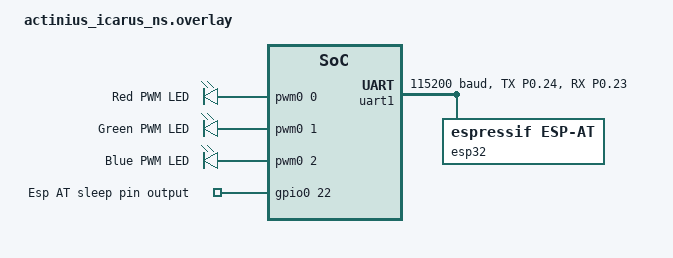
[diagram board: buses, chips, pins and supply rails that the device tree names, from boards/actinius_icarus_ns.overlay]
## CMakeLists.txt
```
#
# Copyright (c) 2021 Nordic Semiconductor ASA
#
# SPDX-License-Identifier: LicenseRef-Nordic-5-Clause
#

cmake_minimum_required(VERSION 3.20.0)

find_package(Zephyr REQUIRED HINTS $ENV{ZEPHYR_BASE})
project(asset_tracker_v2)
zephyr_compile_definitions(PROJECT_NAME=${PROJECT_NAME})

# NORDIC SDK APP START
target_sources(app PRIVATE src/main.c)
# NORDIC SDK APP END

# Include source directory
target_include_directories(app PRIVATE src)
target_include_directories(app PRIVATE include/${BOARD}/)
zephyr_include_directories_ifdef(CONFIG_MEMFAULT configuration/memfault)

# Application directories
add_subdirectory(src/modules)
add_subdirectory(src/events)

add_subdirectory_ifdef(CONFIG_CLOUD_MODULE src/cloud)
add_subdirectory_ifdef(CONFIG_SENSOR_MODULE src/ext_sensors)
add_subdirectory_ifdef(CONFIG_WATCHDOG_APPLICATION src/watchdog)

# Include nRF modem library header file for PC builds.
# These are used throughout the application in type definitions.
if (CONFIG_BOARD_QEMU_X86 OR CONFIG_BOARD_NATIVE_POSIX)
        target_include_directories(app PRIVATE ${NRFXLIB_DIR}/nrf_modem/include/)

        # Make folder containing certificates global so that it can be located by the configured
        # cloud library.
        zephyr_include_directories(src/cloud-certs)
endif()
```

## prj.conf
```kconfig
#
# Copyright (c) 2021 Nordic Semiconductor ASA
#
# SPDX-License-Identifier: LicenseRef-Nordic-5-Clause
#

# General config
CONFIG_NEWLIB_LIBC=y
CONFIG_NEWLIB_LIBC_NANO=y
CONFIG_NEWLIB_LIBC_FLOAT_PRINTF=y
CONFIG_ASSERT=y
CONFIG_REBOOT=y
CONFIG_FPU=y

# Heap and stacks
CONFIG_HEAP_MEM_POOL_SIZE=47250
CONFIG_MAIN_STACK_SIZE=2048
CONFIG_SYSTEM_WORKQUEUE_STACK_SIZE=4096
CONFIG_HW_STACK_PROTECTION=y
# Increase AT monitor heap size to be able to fit both neighbor cell measurement
# and other AT notifications that may come in rapid succession.
CONFIG_AT_MONITOR_HEAP_SIZE=1024

# Logging
CONFIG_LOG=y
CONFIG_LOG_MODE_DEFERRED=y

# nRF modem library
CONFIG_NRF_MODEM_LIB=y
CONFIG_NRF_MODEM_LIB_ON_FAULT_APPLICATION_SPECIFIC=y

# AT Host library - Used to send AT commands directy from an UART terminal and to allow
#		    integration with nRF Connect for Desktop LTE Link monitor application.
CONFIG_AT_HOST_LIBRARY=y

# Network
CONFIG_NETWORKING=y
CONFIG_NET_NATIVE=y
CONFIG_NET_SOCKETS=y
CONFIG_NET_SOCKETS_OFFLOAD=y
CONFIG_NET_IPV6=y
CONFIG_NET_IPV4=y

# LTE link control
CONFIG_LTE_AUTO_INIT_AND_CONNECT=n
CONFIG_LTE_NETWORK_MODE_LTE_M_GPS=y
## Power saving timers
### 1 hour PSM.
CONFIG_LTE_PSM_REQ_RPTAU="00100001"
### 30 seconds active time.
CONFIG_LTE_PSM_REQ_RAT="00001111"

# Settings - Used to store real-time device configuration to flash.
CONFIG_SETTINGS=y
CONFIG_SETTINGS_FCB=y
CONFIG_FCB=y

# FOTA
CONFIG_FOTA_DOWNLOAD=y
CONFIG_DFU_TARGET=y
CONFIG_DOWNLOAD_CLIENT=y
CONFIG_DOWNLOAD_CLIENT_HTTP_FRAG_SIZE_1024=y
CONFIG_DOWNLOAD_CLIENT_STACK_SIZE=4096
CONFIG_DOWNLOAD_CLIENT_BUF_SIZE=2300
CONFIG_DOWNLOAD_CLIENT_MAX_HOSTNAME_SIZE=128

# Flash - Used in FOTA, settings and storage for P-GPS.
CONFIG_FLASH=y
CONFIG_FLASH_PAGE_LAYOUT=y
CONFIG_FLASH_MAP=y
CONFIG_STREAM_FLASH=y
CONFIG_MPU_ALLOW_FLASH_WRITE=y

# MCUBOOT
CONFIG_BOOTLOADER_MCUBOOT=y
CONFIG_IMG_MANAGER=y
CONFIG_MCUBOOT_IMG_MANAGER=y
CONFIG_IMG_ERASE_PROGRESSIVELY=y
CONFIG_SECURE_BOOT=y
CONFIG_BUILD_S1_VARIANT=y

# Watchdog
CONFIG_WATCHDOG_APPLICATION=y

# Application Event Manager
CONFIG_APP_EVENT_MANAGER=y
CONFIG_APP_EVENT_MANAGER_LOG_EVENT_TYPE=n

# cJSON - Used in cloud data encoding.
CONFIG_CJSON_LIB=y

# CAF - Common Application Framework
CONFIG_CAF=y
CONFIG_LED=y
CONFIG_CAF_LEDS=y
CONFIG_CAF_INIT_LOG_LED_READY_EVENTS=n
CONFIG_CAF_INIT_LOG_LED_EVENTS=n
CONFIG_CAF_INIT_LOG_MODULE_STATE_EVENTS=n

# Location related configuration
CONFIG_LOCATION=y
CONFIG_LOCATION_REQUEST_DEFAULT_METHOD_FIRST_GNSS=y
CONFIG_LOCATION_REQUEST_DEFAULT_METHOD_SECOND_CELLULAR=y

#Max time for location service to wait on getting a location on each method before moving on to the next method - unless the overall "locationTimeout" expires first
CONFIG_LOCATION_REQUEST_DEFAULT_GNSS_TIMEOUT=60000
CONFIG_LOCATION_REQUEST_DEFAULT_CELLULAR_TIMEOUT=5000

CONFIG_LOCATION_DATA_DETAILS=y
CONFIG_LOCATION_LOG_LEVEL_WRN=y

# Default cloud transport service
CONFIG_NRF_CLOUD_MQTT=y
CONFIG_HW_ID_LIBRARY=y
CONFIG_HW_ID_LIBRARY_SOURCE_IMEI=y
CONFIG_NRF_CLOUD_SEC_TAG= #your sec tag here
CONFIG_NRF_CLOUD_CLIENT_ID_PREFIX=""
CONFIG_NRF_CLOUD_CLIENT_ID_SRC_COMPILE_TIME=y
CONFIG_NRF_CLOUD_CLIENT_ID="YOUR CLOUD CLIENT ID HERE"

# LTE link control
CONFIG_LTE_LINK_CONTROL=y
CONFIG_LTE_EDRX_REQ=y
```

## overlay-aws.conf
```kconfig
#
# Copyright (c) 2021 Nordic Semiconductor ASA
#
# SPDX-License-Identifier: LicenseRef-Nordic-5-Clause
#

CONFIG_AWS_IOT=y
CONFIG_AWS_IOT_TOPIC_UPDATE_DELTA_SUBSCRIBE=y
CONFIG_AWS_IOT_TOPIC_GET_REJECTED_SUBSCRIBE=y
CONFIG_AWS_IOT_AUTO_DEVICE_SHADOW_REQUEST=y
CONFIG_AWS_IOT_MQTT_RX_TX_BUFFER_LEN=2048
CONFIG_AWS_IOT_APP_SUBSCRIPTION_LIST_COUNT=3
CONFIG_AWS_IOT_CLIENT_ID_APP=y

# Options that must be configured in order to establish a connection.
CONFIG_AWS_IOT_CLIENT_ID_STATIC="icarus-1"
CONFIG_AWS_IOT_BROKER_HOST_NAME="a2jueuet77kxj4-ats.iot.us-east-2.amazonaws.com"
CONFIG_AWS_IOT_SEC_TAG=0

# MQTT Transport library
# Maximum specified MQTT keepalive timeout for AWS IoT is 1200 seconds.
CONFIG_MQTT_KEEPALIVE=1200
```

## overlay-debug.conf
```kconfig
#
# Copyright (c) 2021 Nordic Semiconductor ASA
#
# SPDX-License-Identifier: LicenseRef-Nordic-5-Clause
#

# Forces a maximal log level for all modules.
# Modules saturates their specified level if it is greater than this option,
# otherwise they use the level specified by this option instead of their default
# or whatever was manually set. Levels are:
#
# 0 OFF, logging is turned off
# 1 ERROR, maximal level set to LOG_LEVEL_ERR
# 2 WARNING, maximal level set to LOG_LEVEL_WRN
# 3 INFO, maximal level set to LOG_LEVEL_INFO
# 4 DEBUG, maximal level set to LOG_LEVEL_DBG
CONFIG_LOG_MAX_LEVEL=4

# Increase log buffer size to prevent logs being dropped.
CONFIG_LOG_BUFFER_SIZE=2048

# Disable routing of printk() through the logging subsystem.
# This is a workaround to ensure that long strings are printed properly.
CONFIG_LOG_PRINTK=n

# Module debug configurations.
CONFIG_APPLICATION_MODULE_LOG_LEVEL_DBG=y
CONFIG_CLOUD_MODULE_LOG_LEVEL_DBG=y
CONFIG_DATA_MODULE_LOG_LEVEL_DBG=y
CONFIG_LOCATION_MODULE_LOG_LEVEL_DBG=y
CONFIG_MODEM_MODULE_LOG_LEVEL_DBG=y
CONFIG_SENSOR_MODULE_LOG_LEVEL_DBG=y
CONFIG_UI_MODULE_LOG_LEVEL_DBG=y
CONFIG_UTIL_MODULE_LOG_LEVEL_DBG=y
CONFIG_DEBUG_MODULE_LOG_LEVEL_DBG=y

# Cloud integration layer debug logging
CONFIG_CLOUD_INTEGRATION_LOG_LEVEL_DBG=y

# Application Watchdog debug logging
CONFIG_WATCHDOG_LOG_LEVEL_DBG=y

# Cloud codec debug logging
CONFIG_CLOUD_CODEC_LOG_LEVEL_DBG=y

# Location library
CONFIG_LOCATION_LOG_LEVEL_DBG=y

# nRF Cloud
CONFIG_NRF_CLOUD_LOG_LEVEL_DBG=y

# Date time
CONFIG_DATE_TIME_LOG_LEVEL_DBG=y

# Settings
CONFIG_SETTINGS_LOG_LEVEL_DBG=y

# Flash
CONFIG_STREAM_FLASH_LOG_LEVEL_DBG=y

# Debug module
CONFIG_DEBUG_MODULE=y

# QoS library
CONFIG_QOS_LOG_LEVEL_DBG=y

# CONFIG_SENSOR_LOG_LEVEL_DBG=y

CONFIG_EXTERNAL_SENSORS_LOG_LEVEL_DBG=y

# CONFIG_NET_LOG=y
# CONFIG_NET_CORE_LOG_LEVEL_DBG=y
# CONFIG_NET_IF_LOG_LEVEL_DBG=y
# CONFIG_NET_TC_LOG_LEVEL_DBG=y
# CONFIG_NET_CONN_LOG_LEVEL_DBG=y
# CONFIG_NET_UTILS_LOG_LEVEL_DBG=y
# CONFIG_NET_CONTEXT_LOG_LEVEL_DBG=y
# CONFIG_NET_ROUTE_LOG_LEVEL_DBG=y
# CONFIG_MQTT_LOG_LEVEL_DBG=y

CONFIG_LTE_LC_MODEM_SLEEP_NOTIFICATIONS=y
CONFIG_LTE_LC_MODEM_SLEEP_PRE_WARNING_TIME_MS=500
CONFIG_LTE_LC_MODEM_SLEEP_NOTIFICATIONS_THRESHOLD_MS=10240
```

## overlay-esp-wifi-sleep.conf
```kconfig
CONFIG_WIFI_SLEEP=y
CONFIG_WIFI_ESP_AT_WAKEUP_PIN=19
CONFIG_WIFI_ESP_AT_SLEEP_MODE=2
CONFIG_PM=y
CONFIG_PM_DEVICE=y
```

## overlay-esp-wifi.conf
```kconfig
# ESP 8266 WIFI
CONFIG_WIFI=y
CONFIG_WIFI_LOG_LEVEL_DBG=y # optional
CONFIG_WIFI_OFFLOAD=y
CONFIG_NET_MGMT_EVENT_STACK_SIZE=4096

CONFIG_NET_IPV4=y  # must for ESP8266 to compile
CONFIG_NET_NATIVE=y # must for ESP8266 to compile

CONFIG_WIFI_ESP_AT=y
CONFIG_WIFI_ESP_AT_SCAN_MAC_ADDRESS=y
CONFIG_WIFI_ESP_AT_SCAN_PASSIVE=y
CONFIG_WIFI_ESP_AT_VERSION_2_1=y
CONFIG_WIFI_ESP_AT_SCAN_RESULT_RSSI_ORDERED=y

# Wi-Fi location
CONFIG_LOCATION_METHOD_WIFI=y
CONFIG_LOCATION_REQUEST_DEFAULT_METHOD_FIRST_GNSS=y
CONFIG_LOCATION_REQUEST_DEFAULT_METHOD_SECOND_WIFI=y
CONFIG_LOCATION_REQUEST_DEFAULT_METHOD_THIRD_CELLULAR=y

CONFIG_LOCATION_METHOD_WIFI_SCANNING_RESULTS_MAX_CNT=20
CONFIG_LOCATION_WORKQUEUE_STACK_SIZE=16384
# Needed to handle more scan results
CONFIG_HEAP_MEM_POOL_SIZE=47250

# Not for LTE throughput testing
CONFIG_NRF_MODEM_LIB_SHMEM_TX_SIZE=4096
CONFIG_NRF_MODEM_LIB_SHMEM_RX_SIZE=4096

CONFIG_LOCATION_REQUEST_DEFAULT_WIFI_TIMEOUT=5000
```

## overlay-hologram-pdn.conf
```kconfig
CONFIG_PDN_DEFAULTS_OVERRIDE=y
CONFIG_PDN_DEFAULT_APN="hologram"
```

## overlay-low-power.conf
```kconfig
#
# Copyright (c) 2021 Nordic Semiconductor ASA
#
# SPDX-License-Identifier: LicenseRef-Nordic-5-Clause
#

# This file contains configurations to achieve the lowest power consumption by
# disabling LEDs and logging over UART.

# Disable serial interface.
# CONFIG_SERIAL=n

# Disable LEDs
CONFIG_LED_CONTROL=n

# Disable UART console.
CONFIG_UART_CONSOLE=n

# Disable event logging.
CONFIG_APP_EVENT_MANAGER_SHOW_EVENTS=n

# Disable AT host library.
CONFIG_AT_HOST_LIBRARY=n

# Disable logging
CONFIG_LOG=n

# Disable TFM logging
CONFIG_TFM_LOG_LEVEL_SILENCE=y
```

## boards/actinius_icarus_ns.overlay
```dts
/ {
    pwmleds {
		compatible = "pwm-leds";

		red_pwm_led: led_pwm_0 {
			pwms = <&pwm0 0 PWM_MSEC(10) PWM_POLARITY_INVERTED>;
			label = "Red PWM LED";
		};

		green_pwm_led: led_pwm_1 {
			pwms = <&pwm0 1 PWM_MSEC(10) PWM_POLARITY_INVERTED>;
			label = "Green PWM LED";
		};

		blue_pwm_led: led_pwm_2 {
			pwms = <&pwm0 2 PWM_MSEC(10) PWM_POLARITY_INVERTED>;
			label = "Blue PWM LED";
		};
	};
	gpio {
		compatible = "gpio-keys";
		sleepout0: sleepout_0{
			gpios = <&gpio0 22 GPIO_ACTIVE_HIGH>;
			label = "Esp AT sleep pin output";
		};
	};

	aliases {
		esp-at-sleep = &sleepout0;
		accelerometer = &lis2dh12_accel;
	};
};
//uart1 for esp32
&uart1 {
	status = "okay";
	current-speed = <115200>;

	pinctrl-0 = <&uart1_default_alt>;
	pinctrl-1 = <&uart1_sleep_alt>;
	pinctrl-names = "default", "sleep";
	esp32: esp32 {
		compatible = "espressif,esp-at";
		status = "okay";
	};
};

&pinctrl {
	uart1_default_alt: uart1_default_alt {
		group1 {
			psels = <NRF_PSEL(UART_TX, 0, 24)>;
		};
		group2{
			psels = <NRF_PSEL(UART_RX, 0, 23)>;
			bias-pull-up;
		};
	};

	uart1_sleep_alt: uart1_sleep_alt {
		group1 {
			psels = <NRF_PSEL(UART_TX, 0, 24)>;
			low-power-enable;
		};
		group2{
			psels = <NRF_PSEL(UART_RX, 0, 23)>;
			low-power-enable;
			bias-pull-up;
		};
	};

};

/ {
	chosen {
		ncs,location-wifi = &esp32;
	};
};
&sim_select {
    sim = "external";
};
```

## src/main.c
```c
/*
 * Copyright (c) 2021 Nordic Semiconductor ASA
 *
 * SPDX-License-Identifier: LicenseRef-Nordic-5-Clause
 */

#include <zephyr/kernel.h>
#include <stdio.h>
#include <string.h>
#include <stdlib.h>
#include <app_event_manager.h>
#if defined(CONFIG_NRF_MODEM_LIB)
#include <modem/nrf_modem_lib.h>
#endif /* CONFIG_NRF_MODEM_LIB */
#include <zephyr/sys/reboot.h>
#include <net/nrf_cloud.h>
#include <nrfx_power.h>

/* Module name is used by the Application Event Manager macros in this file */
#define MODULE main
#include <caf/events/module_state_event.h>

#include "modules_common.h"
#include "events/app_module_event.h"
#include "events/cloud_module_event.h"
#include "events/data_module_event.h"
#include "events/sensor_module_event.h"
#include "events/util_module_event.h"
#include "events/modem_module_event.h"

#include <zephyr/logging/log.h>
#include <zephyr/logging/log_ctrl.h>

LOG_MODULE_REGISTER(MODULE, CONFIG_APPLICATION_MODULE_LOG_LEVEL);

/* Message structure. Events from other modules are converted to messages
 * in the Application Event Manager handler, and then queued up in the message queue
 * for processing in the main thread.
 */
struct app_msg_data {
	union {
		struct cloud_module_event cloud;
		struct sensor_module_event sensor;
		struct data_module_event data;
		struct util_module_event util;
		struct modem_module_event modem;
		struct app_module_event app;
	} module;
};

/* Application module super states. */
static enum state_type {
	STATE_INIT,
	STATE_RUNNING,
	STATE_SHUTDOWN
} state;

/* Application sub states. The application can be in either active or passive
 * mode.
 *
 * Active mode: Sensor data and GNSS position is acquired at a configured
 *		interval and sent to cloud.
 *
 * Passive mode: Sensor data and GNSS position is acquired when movement is
 *		 detected, or after the configured movement timeout occurs.
 */
static enum sub_state_type {
	SUB_STATE_ACTIVE_MODE,
	SUB_STATE_PASSIVE_MODE,
} sub_state;

/* Internal copy of the device configuration. */
static struct cloud_data_cfg app_cfg;

/* Variable that keeps track whether modem static data has been successfully sampled by the
 * modem module. Modem static data does not change and only needs to be sampled and sent to cloud
 * once.
 */
static bool modem_static_sampled;

/* Variable that is set high whenever a sample request is ongoing. */
static bool sample_request_ongoing;

/* Variable that is set high whenever the device is considered active (under movement). */
static bool activity;

/* Timer callback used to signal when timeout has occurred both in active
 * and passive mode.
 */
static void data_sample_timer_handler(struct k_timer *timer);

/* Application module message queue. */
#define APP_QUEUE_ENTRY_COUNT		10
#define APP_QUEUE_BYTE_ALIGNMENT	4

/* Data fetching timeouts */
#define DATA_FETCH_TIMEOUT_DEFAULT 2

K_MSGQ_DEFINE(msgq_app, sizeof(struct app_msg_data), APP_QUEUE_ENTRY_COUNT,
	      APP_QUEUE_BYTE_ALIGNMENT);

/* Data sample timer used in active mode. */
K_TIMER_DEFINE(data_sample_timer, data_sample_timer_handler, NULL);

/* Movement timer used to detect movement timeouts in passive mode. */
K_TIMER_DEFINE(movement_timeout_timer, data_sample_timer_handler, NULL);

/* Movement resolution timer decides the period after movement that consecutive
 * movements are ignored and do not cause data collection. This is used to
 * lower power consumption by limiting how often GNSS search is performed and
 * data is sent on air.
 */
K_TIMER_DEFINE(movement_resolution_timer, NULL, NULL);

/* Module data structure to hold information of the application module, which
 * opens up for using convenience functions available for modules.
 */
static struct module_data self = {
	.name = "app",
	.msg_q = &msgq_app,
	.supports_shutdown = true,
};

#if defined(CONFIG_NRF_MODEM_LIB)
NRF_MODEM_LIB_ON_INIT(asset_tracker_init_hook, on_modem_lib_init, NULL);

/* Initialized to value different than success (0) */
static int modem_lib_init_result = -1;

static void on_modem_lib_init(int ret, void *ctx)
{
	modem_lib_init_result = ret;
}
#endif /* CONFIG_NRF_MODEM_LIB */

/* Convenience functions used in internal state handling. */
static char *state2str(enum state_type new_state)
{
	switch (new_state) {
	case STATE_INIT:
		return "STATE_INIT";
	case STATE_RUNNING:
		return "STATE_RUNNING";
	case STATE_SHUTDOWN:
		return "STATE_SHUTDOWN";
	default:
		return "Unknown";
	}
}

static char *sub_state2str(enum sub_state_type new_state)
{
	switch (new_state) {
	case SUB_STATE_ACTIVE_MODE:
		return "SUB_STATE_ACTIVE_MODE";
	case SUB_STATE_PASSIVE_MODE:
		return "SUB_STATE_PASSIVE_MODE";
	default:
		return "Unknown";
	}
}

static void state_set(enum state_type new_state)
{
	if (new_state == state) {
		LOG_DBG("State: %s", state2str(state));
		return;
	}

	LOG_DBG("State transition %s --> %s",
		state2str(state),
		state2str(new_state));

	state = new_state;
}

static void sub_state_set(enum sub_state_type new_state)
{
	if (new_state == sub_state) {
		LOG_DBG("Sub state: %s", sub_state2str(sub_state));
		return;
	}

	LOG_DBG("Sub state transition %s --> %s",
		sub_state2str(sub_state),
		sub_state2str(new_state));

	sub_state = new_state;
}

/* Check the return code from nRF modem library initialization to ensure that
 * the modem is rebooted if a modem firmware update is ready to be applied or
 * an error condition occurred during firmware update or library initialization.
 */
static void handle_nrf_modem_lib_init_ret(void)
{
#if defined(CONFIG_NRF_MODEM_LIB)
	int ret = modem_lib_init_result;

	/* Handle return values relating to modem firmware update */
	switch (ret) {
	case 0:
		/* Initialization successful, no action required. */
		return;
	case NRF_MODEM_DFU_RESULT_OK:
		LOG_DBG("MODEM UPDATE OK. Will run new modem firmware after reboot");
		break;
	case NRF_MODEM_DFU_RESULT_UUID_ERROR:
	case NRF_MODEM_DFU_RESULT_AUTH_ERROR:
		LOG_ERR("MODEM UPDATE ERROR %d. Will run old firmware", ret);
		break;
	case NRF_MODEM_DFU_RESULT_HARDWARE_ERROR:
	case NRF_MODEM_DFU_RESULT_INTERNAL_ERROR:
		LOG_ERR("MODEM UPDATE FATAL ERROR %d. Modem failure", ret);
		break;
	case NRF_MODEM_DFU_RESULT_VOLTAGE_LOW:
		LOG_ERR("MODEM UPDATE CANCELLED %d.", ret);
		LOG_ERR("Please reboot once you have sufficient power for the DFU");
		break;
	default:
		/* All non-zero return codes other than DFU result codes are
		 * considered irrecoverable and a reboot is needed.
		 */
		LOG_ERR("nRF modem lib initialization failed, error: %d", ret);
		break;
	}

#if defined(CONFIG_NRF_CLOUD_FOTA)
	/* Ignore return value, rebooting below */
	(void)nrf_cloud_fota_pending_job_validate(NULL);
#endif
	LOG_DBG("Rebooting...");
	LOG_PANIC();
	sys_reboot(SYS_REBOOT_COLD);
#endif /* CONFIG_NRF_MODEM_LIB */
}

/* Application Event Manager handler. Puts event data into messages and adds them to the
 * application message queue.
 */
static bool app_event_handler(const struct app_event_header *aeh)
{
	struct app_msg_data msg = {0};
	bool enqueue_msg = false;

	if (is_cloud_module_event(aeh)) {
		struct cloud_module_event *evt = cast_cloud_module_event(aeh);

		msg.module.cloud = *evt;
		enqueue_msg = true;
	}

	if (is_app_module_event(aeh)) {
		struct app_module_event *evt = cast_app_module_event(aeh);

		msg.module.app = *evt;
		enqueue_msg = true;
	}

	if (is_data_module_event(aeh)) {
		struct data_module_event *evt = cast_data_module_event(aeh);

		msg.module.data = *evt;
		enqueue_msg = true;
	}

	if (is_sensor_module_event(aeh)) {
		struct sensor_module_event *evt = cast_sensor_module_event(aeh);

		msg.module.sensor = *evt;
		enqueue_msg = true;
	}

	if (is_util_module_event(aeh)) {
		struct util_module_event *evt = cast_util_module_event(aeh);

		msg.module.util = *evt;
		enqueue_msg = true;
	}

	if (is_modem_module_event(aeh)) {
		struct modem_module_event *evt = cast_modem_module_event(aeh);

		msg.module.modem = *evt;
		enqueue_msg = true;
	}

	if (enqueue_msg) {
		int err = module_enqueue_msg(&self, &msg);

		if (err) {
			LOG_ERR("Message could not be enqueued");
			SEND_ERROR(app, APP_EVT_ERROR, err);
		}
	}

	return false;
}

static void data_sample_timer_handler(struct k_timer *timer)
{
	ARG_UNUSED(timer);

	/* Cancel if a previous sample request has not completed or the device is not under
	 * activity in passive mode.
	 */
	if (sample_request_ongoing /*|| ((sub_state == SUB_STATE_PASSIVE_MODE) && !activity)*/) {
		return;
	}
	LOG_INF("Sending APP_EVT_DATA_GET_ALL");
	SEND_EVENT(app, APP_EVT_DATA_GET_ALL);
}

/* Static module functions. */
static void passive_mode_timers_start_all(void)
{
	LOG_DBG("Device mode: Passive");
	LOG_DBG("Start movement timeout: %d seconds interval", app_cfg.movement_timeout);

	LOG_DBG("%d seconds until movement can trigger a new data sample/publication",
		app_cfg.movement_resolution);

	k_timer_start(&movement_resolution_timer,
		      K_SECONDS(app_cfg.movement_resolution),
		      K_SECONDS(0));

	k_timer_start(&movement_timeout_timer,
		      K_SECONDS(app_cfg.movement_timeout),
		      K_SECONDS(app_cfg.movement_timeout));

	k_timer_stop(&data_sample_timer);
}

static void active_mode_timers_start_all(void)
{
	LOG_DBG("Device mode: Active");
	LOG_DBG("Start data sample timer: %d seconds interval", app_cfg.active_wait_timeout);

	k_timer_start(&data_sample_timer,
		      K_SECONDS(app_cfg.active_wait_timeout),
		      K_SECONDS(app_cfg.active_wait_timeout));

	k_timer_stop(&movement_resolution_timer);
	k_timer_stop(&movement_timeout_timer);
}

static void activity_event_handle(enum sensor_module_event_type sensor_event)
{
	__ASSERT(((sensor_event == SENSOR_EVT_MOVEMENT_ACTIVITY_DETECTED) ||
		  (sensor_event == SENSOR_EVT_MOVEMENT_INACTIVITY_DETECTED)),
		  "Unknown event");

	activity = (sensor_event == SENSOR_EVT_MOVEMENT_ACTIVITY_DETECTED) ? true : false;

	if (sample_request_ongoing) {
		LOG_DBG("Sample request ongoing, abort request.");
		return;
	}

	if ((sensor_event == SENSOR_EVT_MOVEMENT_ACTIVITY_DETECTED) &&
	    (k_timer_remaining_get(&movement_resolution_timer) != 0)) {
		LOG_DBG("Movement resolution timer has not expired, abort request.");
		return;
	}
	LOG_INF("Sending APP_EVT_DATA_GET_ALL");
	SEND_EVENT(app, APP_EVT_DATA_GET_ALL);
	passive_mode_timers_start_all();
}

static void data_get(void)
{
	struct app_module_event *app_module_event = new_app_module_event();

	__ASSERT(app_module_event, "Not enough heap left to allocate event");

	size_t count = 0;

	/* Set a low sample timeout. If location is requested, the sample timeout
	 * will be increased to accommodate the location request.
	 */
	app_module_event->timeout = DATA_FETCH_TIMEOUT_DEFAULT;

	/* Specify which data that is to be included in the transmission. */
	app_module_event->data_list[count++] = APP_DATA_MODEM_DYNAMIC;
	app_module_event->data_list[count++] = APP_DATA_BATTERY;
	app_module_event->data_list[count++] = APP_DATA_ENVIRONMENTAL;

	if (!modem_static_sampled) {
		app_module_event->data_list[count++] = APP_DATA_MODEM_STATIC;
	}

	if (!app_cfg.no_data.neighbor_cell || !app_cfg.no_data.gnss || !app_cfg.no_data.wifi) {
		app_module_event->data_list[count++] = APP_DATA_LOCATION;

		/* Set application module timeout when location sampling is requested.
		 * This is selected to be long enough so that most of the GNSS would
		 * have enough time to run to get a fix. We also want it to be smaller than
		 * the sampling interval (120s). So, 110s was selected but we take
		 * minimum of sampling interval minus 5 (just some selected number) and 110.
		 * And mode (active or passive) is taken into account.
		 * If the timeout would become smaller than 5s, we want to ensure some time for
		 * the modules so the minimum value for application module timeout is 5s.
		 */
		app_module_event->timeout = (app_cfg.active_mode) ?
			MIN(app_cfg.active_wait_timeout - 5, 110) :
			MIN(app_cfg.movement_resolution - 5, 110);
		app_module_event->timeout = MAX(app_module_event->timeout, 5);
	}

	/* Set list count to number of data types passed in app_module_event. */
	app_module_event->count = count;
	app_module_event->type = APP_EVT_DATA_GET;

	APP_EVENT_SUBMIT(app_module_event);
}

/* Message handler for STATE_INIT. */
static void on_state_init(struct app_msg_data *msg)
{
	if (IS_EVENT(msg, data, DATA_EVT_CONFIG_INIT)) {
		/* Keep a copy of the new configuration. */
		app_cfg = msg->module.data.data.cfg;

		if (app_cfg.active_mode) {
			active_mode_timers_start_all();
		} else {
			passive_mode_timers_start_all();
		}

		state_set(STATE_RUNNING);
		sub_state_set(app_cfg.active_mode ? SUB_STATE_ACTIVE_MODE :
						    SUB_STATE_PASSIVE_MODE);
	}
}

/* Message handler for STATE_RUNNING. */
static void on_state_running(struct app_msg_data *msg)
{
	if (IS_EVENT(msg, cloud, CLOUD_EVT_CONNECTED)) {
		data_get();
	}

	if (IS_EVENT(msg, app, APP_EVT_DATA_GET_ALL)) {
		data_get();
	}
}

/* Message handler for SUB_STATE_PASSIVE_MODE. */
void on_sub_state_passive(struct app_msg_data *msg)
{
	if (IS_EVENT(msg, data, DATA_EVT_CONFIG_READY)) {
		/* Keep a copy of the new configuration. */
		app_cfg = msg->module.data.data.cfg;

		if (app_cfg.active_mode) {
			active_mode_timers_start_all();
			sub_state_set(SUB_STATE_ACTIVE_MODE);
			return;
		}

		passive_mode_timers_start_all();
	}

	if ((IS_EVENT(msg, sensor, SENSOR_EVT_MOVEMENT_ACTIVITY_DETECTED)) ||
	    (IS_EVENT(msg, sensor, SENSOR_EVT_MOVEMENT_INACTIVITY_DETECTED))) {
		activity_event_handle(msg->module.sensor.type);
	}
}

/* Message handler for SUB_STATE_ACTIVE_MODE. */
static void on_sub_state_active(struct app_msg_data *msg)
{
	if (IS_EVENT(msg, data, DATA_EVT_CONFIG_READY)) {
		/* Keep a copy of the new configuration. */
		app_cfg = msg->module.data.data.cfg;

		if (!app_cfg.active_mode) {
			passive_mode_timers_start_all();
			sub_state_set(SUB_STATE_PASSIVE_MODE);
			return;
		}

		active_mode_timers_start_all();
	}
}

/* Message handler for all states. */
static void on_all_events(struct app_msg_data *msg)
{
	if (IS_EVENT(msg, util, UTIL_EVT_SHUTDOWN_REQUEST)) {
		k_timer_stop(&data_sample_timer);
		k_timer_stop(&movement_timeout_timer);
		k_timer_stop(&movement_resolution_timer);

		SEND_SHUTDOWN_ACK(app, APP_EVT_SHUTDOWN_READY, self.id);
		state_set(STATE_SHUTDOWN);
	}

	if (IS_EVENT(msg, modem, MODEM_EVT_MODEM_STATIC_DATA_READY)) {
		modem_static_sampled = true;
	}

	if (IS_EVENT(msg, app, APP_EVT_DATA_GET)) {
		sample_request_ongoing = true;
	}

	if (IS_EVENT(msg, data, DATA_EVT_DATA_READY)) {
		sample_request_ongoing = false;
	}

	if (IS_EVENT(msg, sensor, SENSOR_EVT_MOVEMENT_IMPACT_DETECTED)) {
		SEND_EVENT(app, APP_EVT_DATA_GET_ALL);
	}
}

void main(void)
{
	int err;
	struct app_msg_data msg = { 0 };

	uint32_t resetReason = nrf_power_resetreas_get(NRF_POWER_NS);
	nrf_power_resetreas_clear(NRF_POWER_NS, resetReason);
	LOG_DBG("Reset Reason: 0x%08x", resetReason);
	
	if (!IS_ENABLED(CONFIG_LWM2M_CARRIER)) {
		handle_nrf_modem_lib_init_ret();
	}

	if (app_event_manager_init()) {
		/* Without the Application Event Manager, the application will not work
		 * as intended. A reboot is required in an attempt to recover.
		 */
		LOG_ERR("Application Event Manager could not be initialized, rebooting...");
		k_sleep(K_SECONDS(5));
		sys_reboot(SYS_REBOOT_COLD);
	} else {
		module_set_state(MODULE_STATE_READY);
		SEND_EVENT(app, APP_EVT_START);
	}

	self.thread_id = k_current_get();

	err = module_start(&self);
	if (err) {
		LOG_ERR("Failed starting module, error: %d", err);
		SEND_ERROR(app, APP_EVT_ERROR, err);
	}

	while (true) {
		module_get_next_msg(&self, &msg);

		switch (state) {
		case STATE_INIT:
			on_state_init(&msg);
			break;
		case STATE_RUNNING:
			switch (sub_state) {
			case SUB_STATE_ACTIVE_MODE:
				on_sub_state_active(&msg);
				break;
			case SUB_STATE_PASSIVE_MODE:
				on_sub_state_passive(&msg);
				break;
			default:
				LOG_ERR("Unknown sub state");
				break;
			}

			on_state_running(&msg);
			break;
		case STATE_SHUTDOWN:
			/* The shutdown state has no transition. */
			break;
		default:
			LOG_ERR("Unknown state");
			break;
		}

		on_all_events(&msg);
	}
}

APP_EVENT_LISTENER(MODULE, app_event_handler);
APP_EVENT_SUBSCRIBE_EARLY(MODULE, cloud_module_event);
APP_EVENT_SUBSCRIBE(MODULE, app_module_event);
APP_EVENT_SUBSCRIBE(MODULE, data_module_event);
APP_EVENT_SUBSCRIBE(MODULE, util_module_event);
APP_EVENT_SUBSCRIBE_FINAL(MODULE, sensor_module_event);
APP_EVENT_SUBSCRIBE_FINAL(MODULE, modem_module_event);
```
